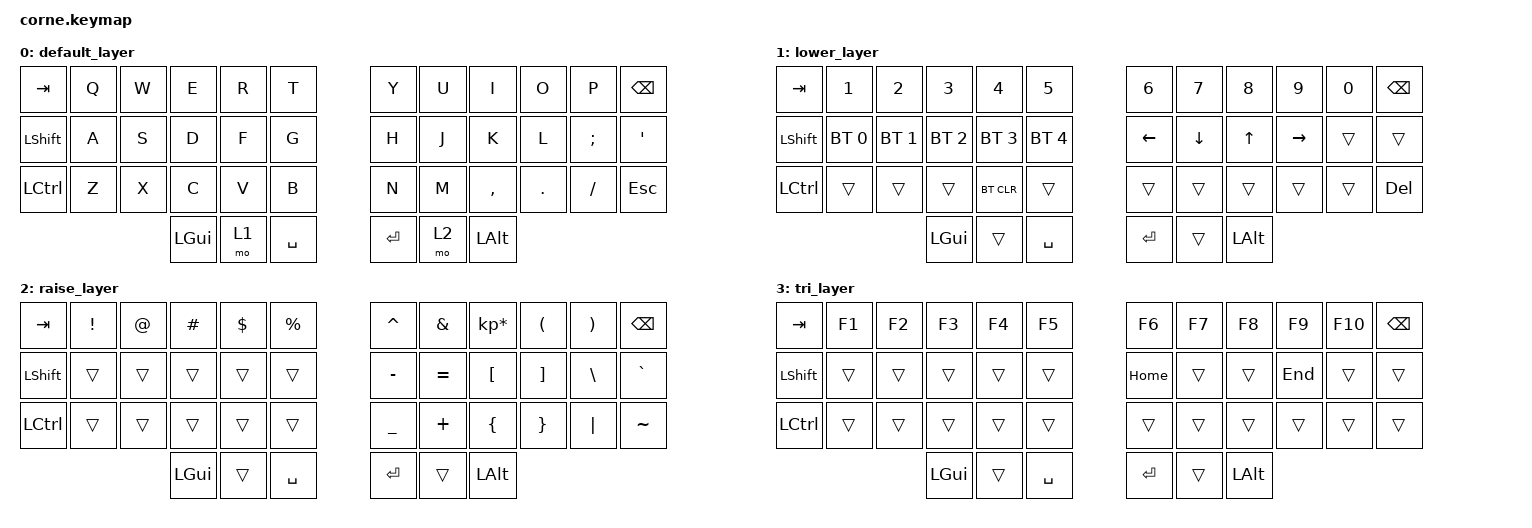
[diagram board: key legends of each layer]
/*
 * Copyright (c) 2020 The ZMK Contributors
 *
 * SPDX-License-Identifier: MIT
 */

#include <behaviors.dtsi>
#include <dt-bindings/zmk/keys.h>
#include <dt-bindings/zmk/bt.h>

/ {
    combos {
        compatible = "zmk,combos";
        combo_home {
            timeout-ms = <100>;
            key-positions = <41 18>;
            bindings = <&kp HOME>;
        };
        combo_end {
            timeout-ms = <100>;
            key-positions = <41 21>;
            bindings = <&kp END>;
        };
    };
  
    conditional_layers {
        compatible = "zmk,conditional-layers";
            tri_layer {
              if-layers = <1 2>;
              then-layer = <3>;
        };
    };
  
    keymap {
        compatible = "zmk,keymap";
  
        default_layer {
// Indexes:
//    0      1     2     3     4     5         6     7      8     9    10    11
//    12    13    14    15    16    17        18    19     20    21    22    23
//    24    25    26    27    28    29        30    31     32    33    34    35
//                      36    37    38        39    40     41
// -----------------------------------------------------------------------------------------
// | TAB  |  Q  |  W  |  E  |  R  |  T  |   |  Y  |  U   |  I  |  O  |  P  | BKSP |
// | SHFT |  A  |  S  |  D  |  F  |  G  |   |  H  |  J   |  K  |  L  |  ;  |  '   |
// | CTRL |  Z  |  X  |  C  |  V  |  B  |   |  N  |  M   |  ,  |  .  |  /  | ESC  |
//                    | GUI | LWR | SPC |   | ENT | RSE  | ALT |
                        bindings = <
   &kp TAB   &kp Q &kp W &kp E &kp R &kp T   &kp Y &kp U  &kp I     &kp O   &kp P    &kp BSPC
   &kp LSHFT &kp A &kp S &kp D &kp F &kp G   &kp H &kp J  &kp K     &kp L   &kp SEMI &kp SQT
   &kp LCTRL &kp Z &kp X &kp C &kp V &kp B   &kp N &kp M  &kp COMMA &kp DOT &kp FSLH &kp ESC
                  &kp LGUI &mo 1 &kp SPACE   &kp RET &mo 2 &kp LALT
                        >;
        };

        lower_layer {
// -----------------------------------------------------------------------------------------
// | TAB  |  1  |  2  |  3  |  4  |  5  |   |  6  |  7  |  8  |  9  |  0  | BKSP |
// | SHFT | BT1 | BT2 | BT3 | BT4 | BT5 |   | LFT | DWN |  UP | RGT |     |      |
// | CTRL |     |     |BTCLR|     |     |   |     |     |     |     |     | DEL  |
//                    | GUI |     | SPC |   | ENT |     | ALT |
                        bindings = <
   &kp TAB    &kp N1       &kp N2       &kp N3       &kp N4       &kp N5         &kp N6   &kp N7   &kp N8 &kp N9    &kp N0 &kp BSPC
   &kp LSHFT  &bt BT_SEL 0 &bt BT_SEL 1 &bt BT_SEL 2 &bt BT_SEL 3 &bt BT_SEL 4   &kp LEFT &kp DOWN &kp UP &kp RIGHT &trans &trans
   &kp LCTRL  &trans       &trans       &trans       &bt BT_CLR   &trans         &trans   &trans   &trans &trans    &trans &kp DEL
                                    &kp LGUI     &trans       &kp SPACE      &kp RET  &trans   &kp LALT
                        >;
        };

        raise_layer {
// -----------------------------------------------------------------------------------------
// | TAB  |  !  |  @  |  #  |  $  |  %  |   |  ^  |  &  |  *  |  (  |  )  | BKSP |
// | SHFT |     |     |     |     |     |   |  -  |  =  |  [  |  ]  |  \  |  `   |
// | CTRL |     |     |     |     |     |   |  _  |  +  |  {  |  }  | "|" |  ~   |
//                    | GUI |     | SPC |   | ENT |     | ALT |
                        bindings = <
   &kp TAB   &kp EXCL &kp AT &kp HASH &kp DLLR &kp PRCNT   &kp CARET &kp AMPS  &kp KP_MULTIPLY &kp LPAR &kp RPAR &kp BSPC
   &kp LSHFT &trans   &trans &trans   &trans   &trans      &kp MINUS &kp EQUAL &kp LBKT        &kp RBKT &kp BSLH &kp GRAVE
   &kp LCTRL &trans   &trans &trans   &trans   &trans      &kp UNDER &kp PLUS  &kp LBRC        &kp RBRC &kp PIPE &kp TILDE
                             &kp LGUI &trans   &kp SPACE   &kp RET   &trans    &kp LALT
                        >;
        };

        tri_layer {
// -----------------------------------------------------------------------------------------
// | TAB  |  F1 |  F2 |  F3 |  F4 |  F5 |   |  F6 |  F7 |  F8 |  F9 | F10 | BKSP |
// | SHFT |     |     |     |     |     |   |     |     |     |     |     |      |
// | CTRL |     |     |     |     |     |   |     |     |     |     |     |      |
//                    | GUI |     | SPC |   | ENT |     | ALT |
                        bindings = <
   &kp TAB   &kp F1   &kp F2   &kp F3   &kp F4   &kp F5         &kp F6    &kp F7   &kp F8   &kp F9   &kp F10  &kp BSPC
   &kp LSHFT &trans   &trans   &trans   &trans   &trans         &kp HOME  &trans   &trans   &kp END  &trans   &trans 
   &kp LCTRL &trans   &trans   &trans   &trans   &trans         &trans    &trans   &trans   &trans   &trans   &trans 
                               &kp LGUI &trans   &kp SPACE      &kp RET   &trans   &kp LALT
                        >;
        };
    };
};
